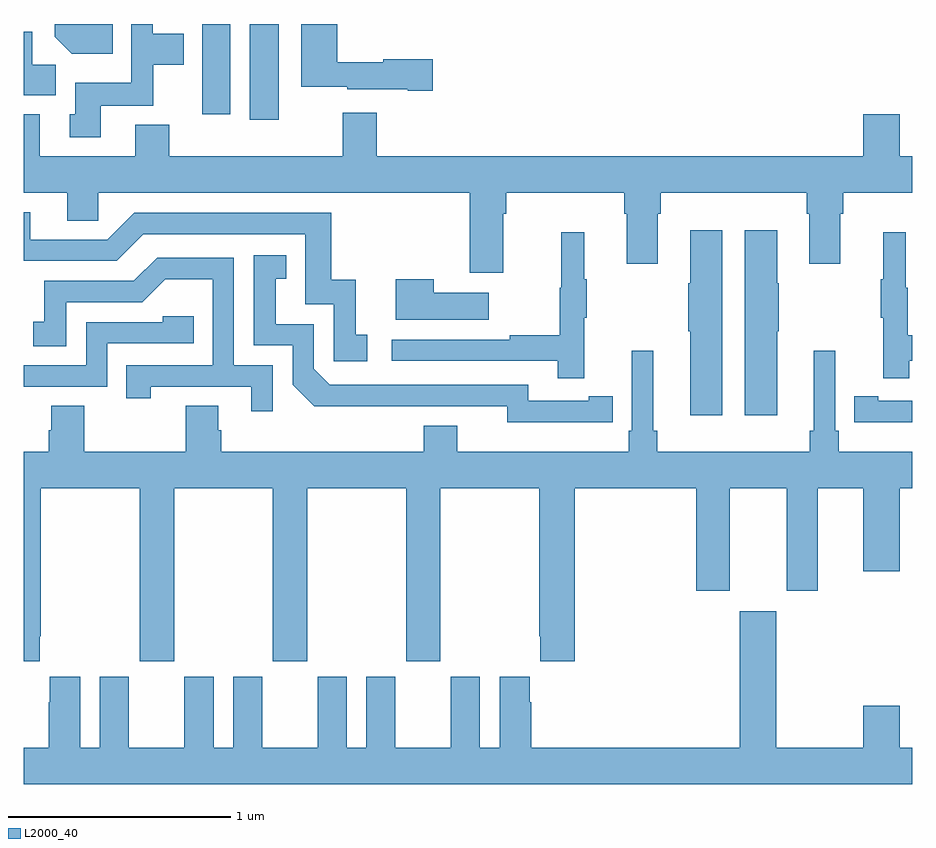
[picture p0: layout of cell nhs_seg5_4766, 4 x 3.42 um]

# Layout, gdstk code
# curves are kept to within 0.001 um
import gdstk
lib = gdstk.Library(unit=1e-6, precision=1e-09)
def R(c, l, rs):  # rectangles x0, y0, x1, y1
    for r in rs: c.add(gdstk.rectangle(r[:2], r[2:], *l))
def P(c, l, *ps):  # polygons
    for p in ps: c.add(gdstk.Polygon(p, *l))
L2000_40 = (2000, 40)

nhs_seg5_4766 = lib.new_cell('nhs_seg5_4766')
R(nhs_seg5_4766, L2000_40, [(390.017,910.368,390.148,910.799), (389.804,910.392,389.929,910.799)])
P(nhs_seg5_4766, L2000_40, [(389.347,910.43),(389.583,910.43),(389.583,910.616),(389.719,910.616),(389.719,910.756),(389.58,910.756),(389.58,910.799),(389.484,910.799),(389.484,910.534),(389.231,910.534),(389.231,910.392),(389.207,910.392),(389.207,910.29),(389.347,910.29)],
  [(390.841,910.64),(390.618,910.64),(390.618,910.627),(390.41,910.627),(390.41,910.799),(390.248,910.799),(390.248,910.517),(390.456,910.517),(390.456,910.505),(390.728,910.505),(390.728,910.498),(390.841,910.498)],
  [(389.399,910.799),(389.138,910.799),(389.138,910.742),(389.216,910.664),(389.399,910.664)],
  [(389.143,910.616),(389.038,910.616),(389.038,910.765),(389,910.765),(389,910.478),(389.143,910.478)],
  [(390.59,910.399),(390.437,910.399),(390.437,910.204),(389.654,910.204),(389.654,910.345),(389.501,910.345),(389.501,910.204),(389.071,910.204),(389.071,910.393),(389,910.393),(389,910.04),(389.195,910.04),(389.195,909.913),(389.334,909.913),(389.334,910.04),(391.007,910.04),(391.007,909.678),(391.159,909.678),(391.159,909.944),(391.172,909.944),(391.172,910.04),(391.703,910.04),(391.703,909.944),(391.715,909.944),(391.715,909.72),(391.855,909.72),(391.855,909.944),(391.868,909.944),(391.868,910.04),(392.525,910.04),(392.525,909.944),(392.537,909.944),(392.537,909.72),(392.677,909.72),(392.677,909.944),(392.69,909.944),(392.69,910.04),(393,910.04),(393,910.204),(392.944,910.204),(392.944,910.393),(392.78,910.393),(392.78,910.204),(390.59,910.204)],
  [(390.547,909.399),(390.494,909.399),(390.494,909.646),(390.383,909.646),(390.383,909.948),(389.496,909.948),(389.376,909.828),(389.029,909.828),(389.029,909.951),(389,909.951),(389,909.732),(389.418,909.732),(389.538,909.852),(390.267,909.852),(390.267,909.537),(390.396,909.537),(390.396,909.279),(390.547,909.279)],
  [(392.392,909.415),(392.4,909.415),(392.4,909.632),(392.392,909.632),(392.392,909.871),(392.246,909.871),(392.246,909.036),(392.392,909.036)],
  [(392.146,909.871),(392,909.871),(392,909.632),(391.993,909.632),(391.993,909.415),(392,909.415),(392,909.036),(392.146,909.036)],
  [(391.523,909.475),(391.534,909.475),(391.534,909.649),(391.523,909.649),(391.523,909.862),(391.42,909.862),(391.42,909.612),(391.413,909.612),(391.413,909.398),(391.189,909.398),(391.189,909.378),(390.657,909.378),(390.657,909.282),(391.405,909.282),(391.405,909.204),(391.523,909.204)],
  [(392.987,909.282),(393,909.282),(393,909.398),(392.98,909.398),(392.98,909.612),(392.972,909.612),(392.972,909.862),(392.87,909.862),(392.87,909.649),(392.859,909.649),(392.859,909.475),(392.87,909.475),(392.87,909.204),(392.987,909.204)],
  [(391.544,909.006),(391.652,909.006),(391.652,909.122),(391.544,909.122),(391.544,909.102),(391.272,909.102),(391.272,909.174),(390.378,909.174),(390.306,909.246),(390.306,909.447),(390.133,909.447),(390.133,909.651),(390.182,909.651),(390.182,909.757),(390.036,909.757),(390.036,909.351),(390.21,909.351),(390.21,909.174),(390.308,909.077),(391.176,909.078),(391.176,909.005)],
  [(390.12,909.261),(389.946,909.261),(389.946,909.747),(389.6,909.747),(389.495,909.642),(389.092,909.642),(389.092,909.457),(389.043,909.457),(389.043,909.348),(389.19,909.348),(389.19,909.546),(389.532,909.546),(389.636,909.65),(389.85,909.65),(389.85,909.261),(389.461,909.261),(389.461,909.114),(389.572,909.114),(389.572,909.165),(390.023,909.165),(390.023,909.054),(390.12,909.054)],
  [(391.093,909.589),(390.845,909.589),(390.845,909.649),(390.674,909.649),(390.674,909.467),(391.093,909.467)],
  [(389.376,909.36),(389.765,909.36),(389.765,909.483),(389.625,909.483),(389.625,909.456),(389.28,909.456),(389.28,909.261),(389,909.261),(389,909.165),(389.376,909.165)],
  [(391.853,908.968),(391.834,908.968),(391.834,909.328),(391.737,909.328),(391.737,908.968),(391.724,908.968),(391.724,908.872),(390.952,908.872),(390.952,908.989),(390.8,908.989),(390.8,908.872),(389.888,908.872),(389.888,908.97),(389.875,908.97),(389.875,909.08),(389.728,909.08),(389.728,908.872),(389.271,908.872),(389.271,909.08),(389.123,909.08),(389.123,908.97),(389.111,908.97),(389.111,908.872),(389,908.872),(389,907.929),(389.071,907.929),(389.071,908.041),(389.076,908.041),(389.076,908.708),(389.521,908.708),(389.521,907.929),(389.676,907.929),(389.676,908.708),(390.121,908.708),(390.121,907.929),(390.276,907.929),(390.276,908.708),(390.721,908.708),(390.721,907.929),(390.876,907.929),(390.876,908.708),(391.321,908.708),(391.321,908.041),(391.325,908.041),(391.325,907.929),(391.481,907.929),(391.481,908.708),(392.027,908.708),(392.027,908.247),(392.179,908.247),(392.179,908.708),(392.435,908.708),(392.435,908.247),(392.575,908.247),(392.575,908.708),(392.78,908.708),(392.78,908.334),(392.944,908.334),(392.944,908.708),(393,908.708),(393,908.872),(392.669,908.872),(392.669,908.968),(392.655,908.968),(392.655,909.328),(392.558,909.328),(392.558,908.968),(392.539,908.968),(392.539,908.872),(391.853,908.872)],
  [(393,909.102),(392.848,909.102),(392.848,909.122),(392.74,909.122),(392.74,909.006),(392.848,909.006),(392.848,909.005),(393,909.005)],
  [(393,907.54),(392.944,907.54),(392.944,907.729),(392.78,907.729),(392.78,907.54),(392.389,907.54),(392.389,908.155),(392.225,908.155),(392.225,907.54),(391.286,907.54),(391.286,907.745),(391.279,907.745),(391.279,907.858),(391.142,907.858),(391.142,907.54),(391.054,907.54),(391.054,907.858),(390.923,907.858),(390.923,907.54),(390.673,907.54),(390.673,907.858),(390.542,907.858),(390.542,907.54),(390.454,907.54),(390.454,907.858),(390.323,907.858),(390.323,907.54),(390.073,907.54),(390.073,907.858),(389.942,907.858),(389.942,907.54),(389.854,907.54),(389.854,907.858),(389.723,907.858),(389.723,907.54),(389.473,907.54),(389.473,907.858),(389.342,907.858),(389.342,907.54),(389.254,907.54),(389.254,907.858),(389.117,907.858),(389.117,907.745),(389.111,907.745),(389.111,907.54),(389,907.54),(389,907.376),(393,907.376)])

lib.write_gds('nhs_seg5_4766.gds')
